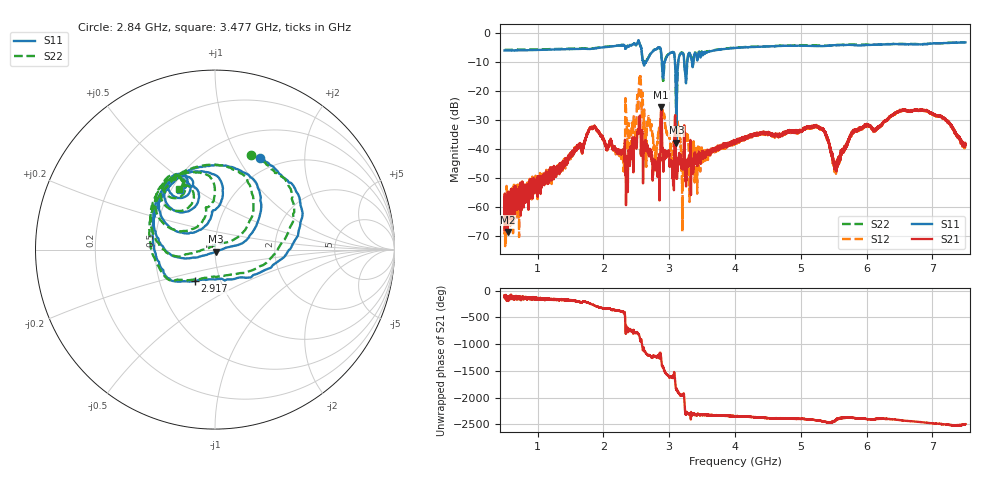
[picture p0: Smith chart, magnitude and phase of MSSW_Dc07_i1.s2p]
!Keysight Technologies,M9374A,MY55442783,A.12.55.05
!Date: Thursday, May 20, 2021 15:24:34
!Correction: S11(Full 2 Port(1,2))
!S21(Full 2 Port(1,2))
!S12(Full 2 Port(1,2))
!S22(Full 2 Port(1,2))
!S2P File: Measurements: S11, S21, S12, S22:
# Hz S  RI  R 50
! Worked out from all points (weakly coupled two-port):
!   7001 points, 500 MHz to 7.5 GHz, reference 50 ohm
!   highest |S21| = -25.62 dB at 2.88 GHz (marker M1); lowest = -68.7 dB at 549 MHz (marker M2)
!   lowest |S11| = -37.8 dB at 3.11 GHz (marker M3), VSWR 1.03, Z = 50.5 - j1.18 ohm
!   |S11| at or under -10 dB: 2.89 GHz to 2.93 GHz (40.4 MHz wide, 1.39 % of centre); 3.088 GHz to 3.137 GHz (48.51 MHz wide, 1.56 % of centre); 3.228 GHz to 3.274 GHz (46.2 MHz wide, 1.42 % of centre) (the widest 3 of 6)
!   |S22| runs from -32.6 to -2.5 dB; largest |S21 - S12| = 0.16
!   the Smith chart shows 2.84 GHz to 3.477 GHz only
!   S11 on the Smith chart (normalised r, x): 2.84 GHz: 0.82, +1.24; 2.917 GHz: 0.75, -0.28; 3.477 GHz: 0.56, +0.43
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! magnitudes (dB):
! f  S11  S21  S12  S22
! 500 MHz  -6.0  -68.0  -60.3  -5.8
! 549 MHz  -6.0  -68.7  -64.2  -5.7
! 1.667 GHz  -5.4  -40.3  -39.6  -5.2
! 1.854 GHz  -5.3  -32.2  -32.6  -5.2
! 2.294 GHz  -4.3  -40.5  -41.0  -4.3
! 2.369 GHz  -4.4  -53.1  -39.6  -4.3
! 2.543 GHz  -3.0  -29.7  -16.8  -3.0
! 2.64 GHz  -10.2  -37.0  -33.7  -9.8
! 2.834 GHz  -4.9  -48.0  -34.8  -5.0
! 2.84 GHz  -4.9  -47.2  -34.2  -5.0
! 2.88 GHz  -7.0  -25.6  -28.1  -7.5
! 2.917 GHz  -13.6  -41.8  -28.1  -14.2
! 3.038 GHz  -6.6  -45.0  -45.7  -6.5
! 3.11 GHz  -37.8  -49.9  -30.6  -32.6
! 3.199 GHz  -6.9  -44.8  -68.9  -6.7
! 3.26 GHz  -16.2  -50.9  -36.1  -15.5
! 3.477 GHz  -8.3  -45.2  -42.4  -8.1
! 4 GHz  -5.1  -37.8  -37.8  -5.0
! 5.167 GHz  -4.4  -32.5  -32.5  -4.2
! 5.529 GHz  -4.1  -47.1  -45.8  -4.1
! 6.334 GHz  -3.8  -29.4  -29.3  -3.8
! 7.5 GHz  -3.2  -38.6  -39.5  -3.2
